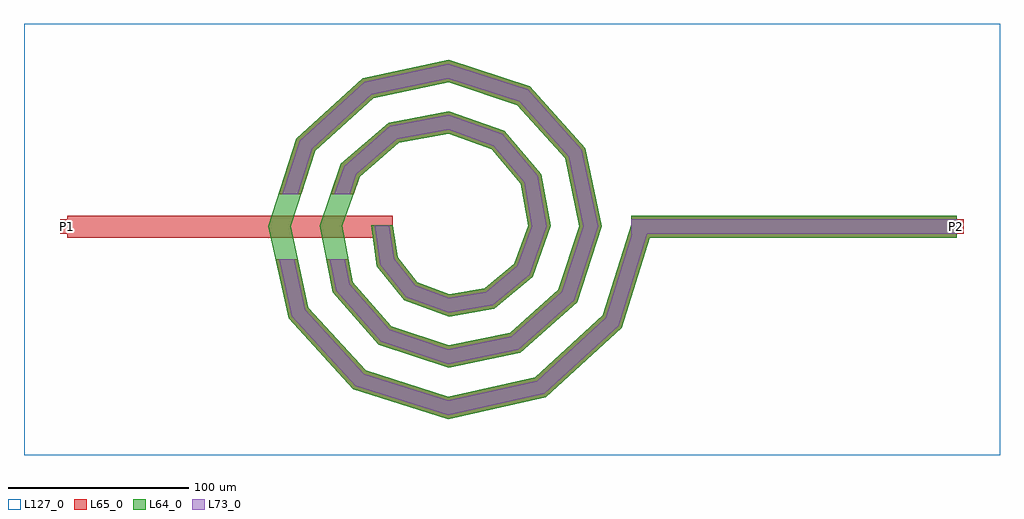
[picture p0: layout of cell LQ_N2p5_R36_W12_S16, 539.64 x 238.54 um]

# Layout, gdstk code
import gdstk
lib = gdstk.Library(unit=1e-6, precision=1e-09)
def R(c, l, rs):  # rectangles x0, y0, x1, y1
    for r in rs: c.add(gdstk.rectangle(r[:2], r[2:], *l))
def P(c, l, *ps):  # polygons
    for p in ps: c.add(gdstk.Polygon(p, *l))
L64_0 = (64, 0)
L65_0 = (65, 0)
L73_0 = (73, 0)
L127_0 = (127, 0)

lq_n2p5_r36_w12_s16 = lib.new_cell('LQ_N2p5_R36_W12_S16')
R(lq_n2p5_r36_w12_s16, L64_0, [(101.224,-6,281.224,6)])
P(lq_n2p5_r36_w12_s16, L64_0, [(-27.88,-16.907),(-16.904,-30.603),(0.627,-37.312),(20.35,-34.058),(36.68,-20.524),(44.386,0.539),(40.224,23.819),(24.124,42.771),(0.474,51.462),(-27.305,46.383),(-48.873,27.711),(-58.54,0.422),(-52.537,-30.802),(-31.289,-54.98),(0.38,-65.618),(34.308,-58.686),(61.093,-34.86),(72.697,0.346),(64.833,37.82),(38.425,67.209),(0.318,79.777),(-41.336,70.978),(-73.327,41.987),(-86.857,0.294),(-77.121,-44.857),(-45.546,-79.448),(0.273,-93.937),(48.379,-83.262),(85.57,-49.103),(101.498,1.792),(112.95,-1.792),(96.06,-55.761),(54.124,-94.279),(0.273,-106.35),(-52.237,-89.917),(-88.156,-50.566),(-99.268,0.294),(-83.774,48.715),(-47.005,82.035),(0.318,92.186),(45.196,77.628),(75.915,43.441),(85.104,0.346),(71.479,-41.681),(39.872,-69.797),(0.38,-78.022),(-38.171,-65.327),(-63.683,-36.297),(-70.938,0.422),(-59.171,34.668),(-32.714,57.572),(0.474,63.854),(31.174,53.007),(51.467,29.119),(56.769,0.539),(46.835,-27.693),(25.507,-45.369),(0.627,-49.681),(-24.232,-40.647),(-39.282,-21.869),(-42.353,0.868),(-30.479,0.868)])
R(lq_n2p5_r36_w12_s16, L65_0, [(-210.416,-6,-30.416,6), (101.224,-6,281.224,6), (-214.416,-4,-206.416,4), (277.224,-4,285.224,4)])
P(lq_n2p5_r36_w12_s16, L65_0, [(-77.121,-44.857),(-45.546,-79.448),(0.273,-93.937),(48.379,-83.262),(85.57,-49.103),(101.498,1.792),(112.95,-1.792),(96.06,-55.761),(54.124,-94.279),(0.273,-106.35),(-52.237,-89.918),(-88.156,-50.566),(-95.271,-18),(-82.988,-18)],
  [(-52.537,-30.802),(-31.289,-54.98),(0.38,-65.618),(34.308,-58.686),(61.093,-34.86),(72.697,0.346),(64.833,37.82),(38.426,67.209),(0.318,79.777),(-41.336,70.978),(-73.327,41.987),(-81.003,18),(-93.602,18),(-83.774,48.715),(-47.006,82.035),(0.318,92.186),(45.196,77.628),(75.915,43.441),(85.104,0.346),(71.479,-41.681),(39.872,-69.798),(0.38,-78.022),(-38.171,-65.327),(-63.683,-36.297),(-67.298,-18),(-55.066,-18)],
  [(-16.904,-30.603),(0.627,-37.312),(20.35,-34.058),(36.68,-20.524),(44.386,0.54),(40.224,23.819),(24.124,42.771),(0.474,51.462),(-27.305,46.383),(-48.873,27.711),(-52.21,18),(-64.898,18),(-59.171,34.668),(-32.714,57.572),(0.474,63.854),(31.174,53.008),(51.467,29.119),(56.769,0.54),(46.835,-27.693),(25.507,-45.369),(0.627,-49.681),(-24.232,-40.647),(-39.282,-21.869),(-42.353,0.868),(-30.479,0.868),(-27.88,-16.907)])
R(lq_n2p5_r36_w12_s16, L73_0, [(101.224,-4,281.224,4)])
P(lq_n2p5_r36_w12_s16, L73_0, [(-78.96,-45.808),(-46.661,-81.193),(0.182,-96.006),(49.337,-85.098),(87.318,-50.212),(103.407,1.195),(111.042,-1.195),(94.311,-54.651),(53.167,-92.443),(0.182,-104.281),(-51.122,-88.173),(-86.317,-49.615),(-93.224,-18),(-85.035,-18)],
  [(-54.394,-31.718),(-32.436,-56.705),(0.254,-67.686),(35.235,-60.538),(62.824,-35.997),(74.765,0.231),(66.68,38.757),(39.554,68.945),(0.212,81.845),(-42.281,72.821),(-75.068,43.109),(-83.103,18),(-91.502,18),(-82.033,47.594),(-46.061,80.192),(0.212,90.118),(44.068,75.891),(74.068,42.504),(83.036,0.231),(69.748,-40.544),(38.945,-67.946),(0.254,-75.954),(-37.024,-63.603),(-61.825,-35.381),(-65.26,-18),(-57.105,-18)],
  [(-18.125,-32.277),(0.418,-39.374),(21.209,-35.943),(38.372,-21.719),(46.45,0.36),(42.098,24.702),(25.299,44.477),(0.316,53.527),(-28.206,48.248),(-50.589,28.871),(-54.324,18),(-62.783,18),(-57.454,33.508),(-31.812,55.707),(0.316,61.789),(29.999,51.302),(49.593,28.236),(54.705,0.36),(45.142,-26.498),(24.648,-43.484),(0.418,-47.62),(-23.011,-38.973),(-37.382,-21.042),(-40.374,0.579),(-32.458,0.579),(-29.78,-17.734)])
R(lq_n2p5_r36_w12_s16, L127_0, [(-234.416,-126.35,305.224,112.186)])
lq_n2p5_r36_w12_s16.add(gdstk.Label('P2', (281.224,0), layer=65, texttype=0))
lq_n2p5_r36_w12_s16.add(gdstk.Label('P1', (-210.416,0), layer=65, texttype=0))
lq_n2p5_r36_w12_s16.add(gdstk.Label('P2', (285.224,0), layer=145, texttype=0))
lq_n2p5_r36_w12_s16.add(gdstk.Label('P1', (-214.416,0), layer=145, texttype=0))

lib.write_gds('LQ_N2p5_R36_W12_S16.gds')
